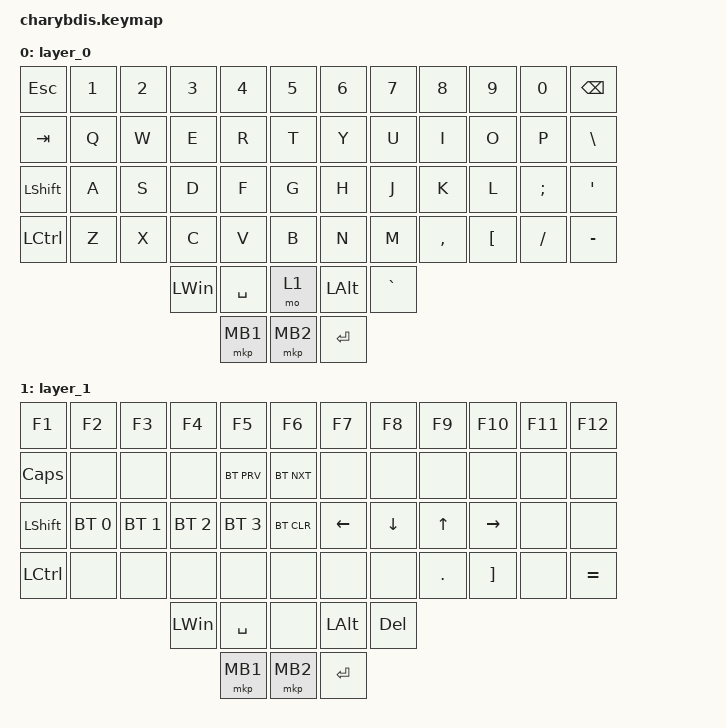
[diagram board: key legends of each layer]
#include <dt-bindings/zmk/mouse.h>
#include <behaviors.dtsi>
#include <dt-bindings/zmk/bt.h>
#include <dt-bindings/zmk/keys.h>
#include <dt-bindings/zmk/pointing.h>

&lt {
    tapping-term-ms = <200>;
    flavor = "balanced";
    quick-tap-ms = <150>;
};

/ {
    combos {
        compatible = "zmk,combos";

        Escape {
            bindings = <&kp ESCAPE>;
            key-positions = <0 1>;
        };
    };

    keymap {
        compatible = "zmk,keymap";

        layer_0 {
            bindings = <
&kp ESC         &kp N1  &kp N2  &kp N3        &kp N4     &kp N5      &kp N6     &kp N7     &kp N8     &kp N9            &kp N0    &kp BACKSPACE
&kp TAB         &kp Q   &kp W   &kp E         &kp R      &kp T       &kp Y      &kp U      &kp I      &kp O             &kp P     &kp BSLH
&kp LEFT_SHIFT  &kp A   &kp S   &kp D         &kp F      &kp G       &kp H      &kp J      &kp K      &kp L             &kp SEMI  &kp SQT
&kp LCTRL       &kp Z   &kp X   &kp C         &kp V      &kp B       &kp N      &kp M      &kp COMMA  &kp LEFT_BRACKET  &kp FSLH  &kp MINUS
                                &kp LEFT_WIN  &kp SPACE  &mo 1       &kp LALT   &kp GRAVE
                                              &mkp MB1   &mkp MB2    &kp ENTER
            >;

            trackball-bindings = <&tmv_coarse>;
        };

        layer_1 {
            bindings = <
&kp F1          &kp F2        &kp F3        &kp F4        &kp F5        &kp F6        &kp F7     &kp F8      &kp F9        &kp F10            &kp F11  &kp F12
&kp CAPS        &none         &none         &none         &bt BT_PRV    &bt BT_NXT    &none      &none       &none         &none              &none    &none
&kp LEFT_SHIFT  &bt BT_SEL 0  &bt BT_SEL 1  &bt BT_SEL 2  &bt BT_SEL 3  &bt BT_CLR    &kp LEFT   &kp DOWN    &kp UP_ARROW  &kp RIGHT          &none    &none
&kp LCTRL       &none         &none         &none         &none         &none         &none      &none       &kp PERIOD    &kp RIGHT_BRACKET  &none    &kp EQUAL
                                            &kp LEFT_WIN  &kp SPACE     &none         &kp LALT   &kp DELETE
                                                          &mkp MB1      &mkp MB2      &kp ENTER
            >;

            trackball-bindings = <&tsl>;
        };

        /* layer_2 {
            bindings = <
&none  &none   &none    &none   &none         &none         &kp N1         &none         &none     &none  &none   &to 0
&none  &none   &none    &none   &none         &none         &none         &none          &rgb_ug RGB_BRD &rgb_ug RGB_BRI  &rgb_ug RGB_EFF   &rgb_ug RGB_TOG
&none  &none   &none    &none   &none         &none         &none         &mkp LCLK     &mkp RCLK  &none  &none   &none
&none  &none   &none    &none   &bt BT_NXT  &bt BT_CLR    &none         &none         &none     &none  &none   &none
                                   &none         &none         &none         &none         &none
                                                 &none         &none         &none
            >;
          trackball-bindings = <&tsl>;
            
        };

       Mouse {
            bindings = <
&none        &none         &none         &none         &none      &none         &none       &none      &none         &none         &none         &none
&none        &bt BT_SEL 0  &bt BT_SEL 1  &bt BT_SEL 3  &none      &bt BT_CLR    &bt BT_CLR  &none      &bt BT_SEL 2  &bt BT_SEL 1  &bt BT_SEL 0  &none
&none        &trans        &trans        &mkp MCLK     &trans     &none         &none       &trans     &mkp MCLK     &trans        &trans        &none
&bootloader  &trans        &mkp RCLK     &mo 4         &mkp LCLK  &mo 5         &mo 5       &mkp LCLK  &mo 4         &mkp RCLK     &trans        &bootloader
                                         &mo 5         &mkp LCLK  &mkp RCLK     &mkp RCLK   &mkp LCLK
                                                       &none      &trans        &trans
            >;

            
        };

        layer_4 {
            bindings = <
&trans  &trans  &trans     &trans     &trans     &trans       &trans     &trans     &trans     &trans     &trans  &trans
&trans  &trans  &trans     &trans     &trans     &trans       &trans     &trans     &trans     &trans     &trans  &trans
&trans  &trans  &trans     &mkp MCLK  &trans     &trans       &trans     &trans     &mkp MCLK  &trans     &trans  &trans
&trans  &trans  &mkp RCLK  &trans     &mkp LCLK  &trans       &trans     &mkp LCLK  &trans     &mkp RCLK  &trans  &trans
                           &trans     &mkp LCLK  &mkp RCLK    &mkp RCLK  &mkp LCLK
                                      &trans     &trans       &trans
            >;
                
                
                trackball-bindings = <&tsl>;
        };

        layer_5 {
            bindings = <
&trans  &trans  &trans     &trans     &trans     &trans       &trans     &trans     &trans     &trans     &trans  &trans
&trans  &trans  &trans     &trans     &trans     &trans       &trans     &trans     &trans     &trans     &trans  &trans
&trans  &trans  &trans     &mkp MCLK  &trans     &trans       &trans     &trans     &mkp MCLK  &trans     &trans  &trans
&trans  &trans  &mkp RCLK  &trans     &mkp LCLK  &trans       &trans     &mkp LCLK  &trans     &mkp RCLK  &trans  &trans
                           &trans     &mkp LCLK  &mkp RCLK    &mkp RCLK  &mkp LCLK
                                      &trans     &trans       &trans
            >;
                trackball-bindings = <&tmv_fine>;
                
        };*/
    };
};
